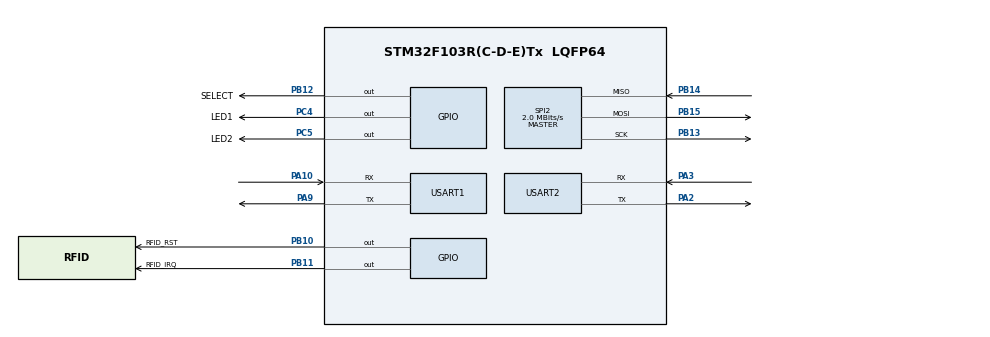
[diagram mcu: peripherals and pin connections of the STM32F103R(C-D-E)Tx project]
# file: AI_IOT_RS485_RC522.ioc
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Mcu.Family=STM32F1
Mcu.Name=STM32F103R(C-D-E)Tx
Mcu.Package=LQFP64
NVIC.PriorityGroup=NVIC_PRIORITYGROUP_4
NVIC.USART1_IRQn=true\:0\:0\:false\:false\:true\:true
NVIC.USART2_IRQn=true\:0\:0\:false\:false\:true\:true
PA10.Mode=Asynchronous
PA10.Signal=USART1_RX
PA13.Mode=JTAG_5_pins
PA13.Signal=SYS_JTMS-SWDIO
PA14.Mode=JTAG_5_pins
PA14.Signal=SYS_JTCK-SWCLK
PA15.Mode=JTAG_5_pins
PA15.Signal=SYS_JTDI
PA2.Mode=Asynchronous
PA2.Signal=USART2_TX
PA3.Mode=Asynchronous
PA3.Signal=USART2_RX
PA9.Mode=Asynchronous
PA9.Signal=USART1_TX
PB10.GPIO_Label=RFID_RST
PB10.Signal=GPIO_Output
PB11.GPIO_Label=RFID_IRQ
PB11.Signal=GPIO_Output
PB12.GPIO_Label=SELECT
PB12.Signal=GPIO_Output
PB13.Mode=Full_Duplex_Master
PB13.Signal=SPI2_SCK
PB14.Mode=Full_Duplex_Master
PB14.Signal=SPI2_MISO
PB15.Mode=Full_Duplex_Master
PB15.Signal=SPI2_MOSI
PB3.Mode=JTAG_5_pins
PB3.Signal=SYS_JTDO-TRACESWO
PB4.Mode=JTAG_5_pins
PB4.Signal=SYS_NJTRST
PC4.GPIO_Label=LED1
PC4.GPIO_ModeDefaultOutputPP=GPIO_MODE_OUTPUT_PP
PC4.GPIO_PuPd=GPIO_PULLDOWN
PC4.GPIO_Speed=GPIO_SPEED_FREQ_HIGH
PC4.PinState=GPIO_PIN_SET
PC4.Signal=GPIO_Output
PC5.GPIO_Label=LED2
PC5.GPIO_ModeDefaultOutputPP=GPIO_MODE_OUTPUT_PP
PC5.GPIO_PuPd=GPIO_PULLDOWN
PC5.GPIO_Speed=GPIO_SPEED_FREQ_HIGH
PC5.PinState=GPIO_PIN_SET
PC5.Signal=GPIO_Output
ProjectManager.HeapSize=0x200
ProjectManager.StackSize=0x400
ProjectManager.TargetToolchain=MDK-ARM V5
RCC.APB1Freq_Value=8000000
RCC.APB2Freq_Value=8000000
SPI2.BaudRatePrescaler=SPI_BAUDRATEPRESCALER_4
SPI2.CalculateBaudRate=2.0 MBits/s
SPI2.Direction=SPI_DIRECTION_2LINES
SPI2.Mode=SPI_MODE_MASTER
SPI2.VirtualType=VM_MASTER
USART1.VirtualMode=VM_ASYNC
USART2.VirtualMode=VM_ASYNC
board=custom

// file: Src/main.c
/**
  ******************************************************************************
  * @file           : main.c
  * @brief          : Main program body
  ******************************************************************************
  ** This notice applies to any and all portions of this file
  * that are not between comment pairs USER CODE BEGIN and
  * USER CODE END. Other portions of this file, whether
  * inserted by the user or by software development tools
  * are owned by their respective copyright owners.
  *
  * COPYRIGHT(c) 2019 STMicroelectronics
  *
  * Redistribution and use in source and binary forms, with or without modification,
  * are permitted provided that the following conditions are met:
  *   1. Redistributions of source code must retain the above copyright notice,
  *      this list of conditions and the following disclaimer.
  *   2. Redistributions in binary form must reproduce the above copyright notice,
  *      this list of conditions and the following disclaimer in the documentation
  *      and/or other materials provided with the distribution.
  *   3. Neither the name of STMicroelectronics nor the names of its contributors
  *      may be used to endorse or promote products derived from this software
  *      without specific prior written permission.
  *
  * THIS SOFTWARE IS PROVIDED BY THE COPYRIGHT HOLDERS AND CONTRIBUTORS "AS IS"
  * AND ANY EXPRESS OR IMPLIED WARRANTIES, INCLUDING, BUT NOT LIMITED TO, THE
  * IMPLIED WARRANTIES OF MERCHANTABILITY AND FITNESS FOR A PARTICULAR PURPOSE ARE
  * DISCLAIMED. IN NO EVENT SHALL THE COPYRIGHT HOLDER OR CONTRIBUTORS BE LIABLE
  * FOR ANY DIRECT, INDIRECT, INCIDENTAL, SPECIAL, EXEMPLARY, OR CONSEQUENTIAL
  * DAMAGES (INCLUDING, BUT NOT LIMITED TO, PROCUREMENT OF SUBSTITUTE GOODS OR
  * SERVICES; LOSS OF USE, DATA, OR PROFITS; OR BUSINESS INTERRUPTION) HOWEVER
  * CAUSED AND ON ANY THEORY OF LIABILITY, WHETHER IN CONTRACT, STRICT LIABILITY,
  * OR TORT (INCLUDING NEGLIGENCE OR OTHERWISE) ARISING IN ANY WAY OUT OF THE USE
  * OF THIS SOFTWARE, EVEN IF ADVISED OF THE POSSIBILITY OF SUCH DAMAGE.
  *
  ******************************************************************************
  */
#include "main.h"
#include "stm32f1xx_hal.h"

/* USER CODE BEGIN Includes */
#include"stdio.h"
#include "rc522.h"
#include "ObitString.h"
uint8_t check=10;
uint16_t backBits;
/* USER CODE END Includes */

SPI_HandleTypeDef hspi2;

UART_HandleTypeDef huart1;
UART_HandleTypeDef huart2;

/* USER CODE BEGIN PV */
/* Private variables ---------------------------------------------------------*/

/* USER CODE END PV */

void SystemClock_Config(void);
static void MX_GPIO_Init(void);
static void MX_USART1_UART_Init(void);
static void MX_SPI2_Init(void);
static void MX_USART2_UART_Init(void);

/* USER CODE BEGIN PFP */
/* Private function prototypes -----------------------------------------------*/
uint8_t data[]="HELLO WORLD\n"; // transmit
uint8_t t=10;
// variable RFID
uint8_t dataUDP_permit[]="Ma the hop le ";
uint8_t dataUDP_deny[]="Ma the khong hop le ";
unsigned char CardID[5];
unsigned char MyID[5] = {0x34, 0xCA, 0x83, 0xCB, 0xB6};	//My card on my keys

// RC522
uint8_t MFRC522_Check(uint8_t* id);
uint8_t MFRC522_Compare(uint8_t* CardID, uint8_t* CompareID);
void MFRC522_WriteRegister(uint8_t addr, uint8_t val);
uint8_t MFRC522_ReadRegister(uint8_t addr);
void MFRC522_SetBitMask(uint8_t reg, uint8_t mask);
void MFRC522_ClearBitMask(uint8_t reg, uint8_t mask);
uint8_t MFRC522_Request(uint8_t reqMode, uint8_t* TagType);
uint8_t MFRC522_ToCard(uint8_t command, uint8_t* sendData, uint8_t sendLen, uint8_t* backData, uint16_t* backLen);
uint8_t MFRC522_Anticoll(uint8_t* serNum);
void MFRC522_CalulateCRC(uint8_t* pIndata, uint8_t len, uint8_t* pOutData);
uint8_t MFRC522_SelectTag(uint8_t* serNum);
uint8_t MFRC522_Auth(uint8_t authMode, uint8_t BlockAddr, uint8_t* Sectorkey, uint8_t* serNum);
uint8_t MFRC522_Read(uint8_t blockAddr, uint8_t* recvData);
uint8_t MFRC522_Write(uint8_t blockAddr, uint8_t* writeData);
void MFRC522_Init(void);
void MFRC522_Reset(void);
void MFRC522_AntennaOn(void);
void MFRC522_AntennaOff(void);
void MFRC522_Halt(void);
/* USER CODE END PFP */

/* USER CODE BEGIN 0 */
#ifdef __GNUC__
 /* With GCC/RAISONANCE, small printf (option LD Linker->Libraries->Small printf
 set to 'Yes') calls __io_putchar() */
 #define PUTCHAR_PROTOTYPE int __io_putchar(int ch)
#else
 #define PUTCHAR_PROTOTYPE int fputc(int ch, FILE *f)
#endif /* __GNUC__ */

 /**
 * @brief Retargets the C library printf function to the USART.
 * @param None
 * @retval None
 */
PUTCHAR_PROTOTYPE
{
 /* Place your implementation of fputc here */
 /* e.g. write a character to the USART */
 HAL_UART_Transmit(&huart2, (uint8_t *)&ch, 1, 100);

 return ch;
}

#define RFID_UART_BUFFER_MAX_SIZE      128
uint8_t RFID_UartBuffer[RFID_UART_BUFFER_MAX_SIZE];
uint16_t RFID_UartRxIndex;
uint32_t RFID_UartLastTime;
uint8_t  RFID_DataBuff;

void HAL_UART_RxCpltCallback(UART_HandleTypeDef *huart)
{
  if(huart->Instance==huart2.Instance)
  {
    RFID_UartLastTime = HAL_GetTick();
	  RFID_UartBuffer[RFID_UartRxIndex] = 0; // clear
	  RFID_UartBuffer[RFID_UartRxIndex] = RFID_DataBuff;
	  if(RFID_UartRxIndex < RFID_UART_BUFFER_MAX_SIZE - 1)
		 {
			RFID_UartRxIndex++;
		 }
		HAL_UART_Receive_IT(&huart2,&RFID_DataBuff,1);
  }
}

void CheckQuestionFromMaster( uint8_t *content_question, uint16_t content_question_length)
{
	if(obit_strcmp(content_question,content_question_length,RFID_UartBuffer,RFID_UartRxIndex) == 1)
	{
		RFID_UartRxIndex=0;
		memset((char*)RFID_UartBuffer,0,RFID_UART_BUFFER_MAX_SIZE);
		//HAL_Delay(100);
		if (MFRC522_Check(CardID) == MI_OK)
		{
		 printf( "CardID=%02x%02x%02x%02x%02x\r\n", CardID[0], CardID[1], CardID[2], CardID[3], CardID[4]);
		}
		else printf("CardID=0000000000\r\n");
	}
}

/* USER CODE END 0 */

int main(void)
{

  /* MCU Configuration----------------------------------------------------------*/

  /* Reset of all peripherals, Initializes the Flash interface and the Systick. */
  HAL_Init();

  /* Configure the system clock */
  SystemClock_Config();

  /* Initialize all configured peripherals */
  MX_GPIO_Init();
  MX_USART1_UART_Init();
  MX_SPI2_Init();
  MX_USART2_UART_Init();
  /* USER CODE BEGIN 2 */
	HAL_UART_Receive_IT(&huart2,&RFID_DataBuff,1);
  MFRC522_Init();
	//printf("Waiting for RFID Card...!\n\r");
	HAL_Delay(1000);
  /* USER CODE END 2 */

  /* Infinite loop */
  /* USER CODE BEGIN WHILE */
  while (1)
  {
     //if (MFRC522_Check(CardID) == MI_OK)
			//{
				CheckQuestionFromMaster((uint8_t*)"@Device_11\r\n",sizeof("@Device_11\r\n"));
		    //HAL_Delay(10);
		/*
			printf( "[%02x-%02x-%02x-%02x-%02x] \r\n", CardID[0], CardID[1], CardID[2], CardID[3], CardID[4]);

			if (MFRC522_Compare(CardID, MyID) == MI_OK)
				{
					printf("(^_^) Perfect!\n\r");
					printf("[%s voi Card ID=%02x-%02x-%02x-%02x-%02x] \r\n", dataUDP_permit, CardID[0], CardID[1], CardID[2], CardID[3], CardID[4]);
				}
				else
				{
					printf("(0_0) Bad!\n\r");
					printf( "[%s voi Card ID=%02x-%02x-%02x-%02x-%02x]\r\n", dataUDP_deny, CardID[0], CardID[1], CardID[2], CardID[3], CardID[4]);
				}
				*/
			//}

		 // HAL_Delay(10);
  /* USER CODE END WHILE */

  }

}

void SystemClock_Config(void)
{

  RCC_OscInitTypeDef RCC_OscInitStruct;
  RCC_ClkInitTypeDef RCC_ClkInitStruct;

    /**Initializes the CPU, AHB and APB busses clocks
    */
  RCC_OscInitStruct.OscillatorType = RCC_OSCILLATORTYPE_HSI;
  RCC_OscInitStruct.HSIState = RCC_HSI_ON;
  RCC_OscInitStruct.HSICalibrationValue = 16;
  RCC_OscInitStruct.PLL.PLLState = RCC_PLL_NONE;
  if (HAL_RCC_OscConfig(&RCC_OscInitStruct) != HAL_OK)
  {
    _Error_Handler(__FILE__, __LINE__);
  }

    /**Initializes the CPU, AHB and APB busses clocks
    */
  RCC_ClkInitStruct.ClockType = RCC_CLOCKTYPE_HCLK|RCC_CLOCKTYPE_SYSCLK
                              |RCC_CLOCKTYPE_PCLK1|RCC_CLOCKTYPE_PCLK2;
  RCC_ClkInitStruct.SYSCLKSource = RCC_SYSCLKSOURCE_HSI;
  RCC_ClkInitStruct.AHBCLKDivider = RCC_SYSCLK_DIV1;
  RCC_ClkInitStruct.APB1CLKDivider = RCC_HCLK_DIV1;
  RCC_ClkInitStruct.APB2CLKDivider = RCC_HCLK_DIV1;

  if (HAL_RCC_ClockConfig(&RCC_ClkInitStruct, FLASH_LATENCY_0) != HAL_OK)
  {
    _Error_Handler(__FILE__, __LINE__);
  }

    /**Configure the Systick interrupt time
    */
  HAL_SYSTICK_Config(HAL_RCC_GetHCLKFreq()/1000);

    /**Configure the Systick
    */
  HAL_SYSTICK_CLKSourceConfig(SYSTICK_CLKSOURCE_HCLK);

  /* SysTick_IRQn interrupt configuration */
  HAL_NVIC_SetPriority(SysTick_IRQn, 0, 0);
}

/* SPI2 init function */
static void MX_SPI2_Init(void)
{

  /* SPI2 parameter configuration*/
  hspi2.Instance = SPI2;
  hspi2.Init.Mode = SPI_MODE_MASTER;
  hspi2.Init.Direction = SPI_DIRECTION_2LINES;
  hspi2.Init.DataSize = SPI_DATASIZE_8BIT;
  hspi2.Init.CLKPolarity = SPI_POLARITY_LOW;
  hspi2.Init.CLKPhase = SPI_PHASE_1EDGE;
  hspi2.Init.NSS = SPI_NSS_SOFT;
  hspi2.Init.BaudRatePrescaler = SPI_BAUDRATEPRESCALER_4;
  hspi2.Init.FirstBit = SPI_FIRSTBIT_MSB;
  hspi2.Init.TIMode = SPI_TIMODE_DISABLE;
  hspi2.Init.CRCCalculation = SPI_CRCCALCULATION_DISABLE;
  hspi2.Init.CRCPolynomial = 10;
  if (HAL_SPI_Init(&hspi2) != HAL_OK)
  {
    _Error_Handler(__FILE__, __LINE__);
  }

}

/* USART1 init function */
static void MX_USART1_UART_Init(void)
{

  huart1.Instance = USART1;
  huart1.Init.BaudRate = 115200;
  huart1.Init.WordLength = UART_WORDLENGTH_8B;
  huart1.Init.StopBits = UART_STOPBITS_1;
  huart1.Init.Parity = UART_PARITY_NONE;
  huart1.Init.Mode = UART_MODE_TX_RX;
  huart1.Init.HwFlowCtl = UART_HWCONTROL_NONE;
  huart1.Init.OverSampling = UART_OVERSAMPLING_16;
  if (HAL_UART_Init(&huart1) != HAL_OK)
  {
    _Error_Handler(__FILE__, __LINE__);
  }

}

/* USART2 init function */
static void MX_USART2_UART_Init(void)
{

  huart2.Instance = USART2;
  huart2.Init.BaudRate = 115200;
  huart2.Init.WordLength = UART_WORDLENGTH_8B;
  huart2.Init.StopBits = UART_STOPBITS_1;
  huart2.Init.Parity = UART_PARITY_NONE;
  huart2.Init.Mode = UART_MODE_TX_RX;
  huart2.Init.HwFlowCtl = UART_HWCONTROL_NONE;
  huart2.Init.OverSampling = UART_OVERSAMPLING_16;
  if (HAL_UART_Init(&huart2) != HAL_OK)
  {
    _Error_Handler(__FILE__, __LINE__);
  }

}

/** Configure pins as
        * Analog
        * Input
        * Output
        * EVENT_OUT
        * EXTI
*/
static void MX_GPIO_Init(void)
{

  GPIO_InitTypeDef GPIO_InitStruct;

  /* GPIO Ports Clock Enable */
  __HAL_RCC_GPIOA_CLK_ENABLE();
  __HAL_RCC_GPIOC_CLK_ENABLE();
  __HAL_RCC_GPIOB_CLK_ENABLE();

  /*Configure GPIO pin Output Level */
  HAL_GPIO_WritePin(GPIOC, LED1_Pin|LED2_Pin, GPIO_PIN_SET);

  /*Configure GPIO pin Output Level */
  HAL_GPIO_WritePin(GPIOB, RFID_RST_Pin|RFID_IRQ_Pin|SELECT_Pin, GPIO_PIN_RESET);

  /*Configure GPIO pins : LED1_Pin LED2_Pin */
  GPIO_InitStruct.Pin = LED1_Pin|LED2_Pin;
  GPIO_InitStruct.Mode = GPIO_MODE_OUTPUT_PP;
  GPIO_InitStruct.Pull = GPIO_PULLDOWN;
  GPIO_InitStruct.Speed = GPIO_SPEED_FREQ_HIGH;
  HAL_GPIO_Init(GPIOC, &GPIO_InitStruct);

  /*Configure GPIO pins : RFID_RST_Pin RFID_IRQ_Pin SELECT_Pin */
  GPIO_InitStruct.Pin = RFID_RST_Pin|RFID_IRQ_Pin|SELECT_Pin;
  GPIO_InitStruct.Mode = GPIO_MODE_OUTPUT_PP;
  GPIO_InitStruct.Pull = GPIO_NOPULL;
  GPIO_InitStruct.Speed = GPIO_SPEED_FREQ_LOW;
  HAL_GPIO_Init(GPIOB, &GPIO_InitStruct);

}

void _Error_Handler(char *file, int line)
{
  while(1)
  {
  }
}

/************************ (C) COPYRIGHT STMicroelectronics *****END OF FILE****/
